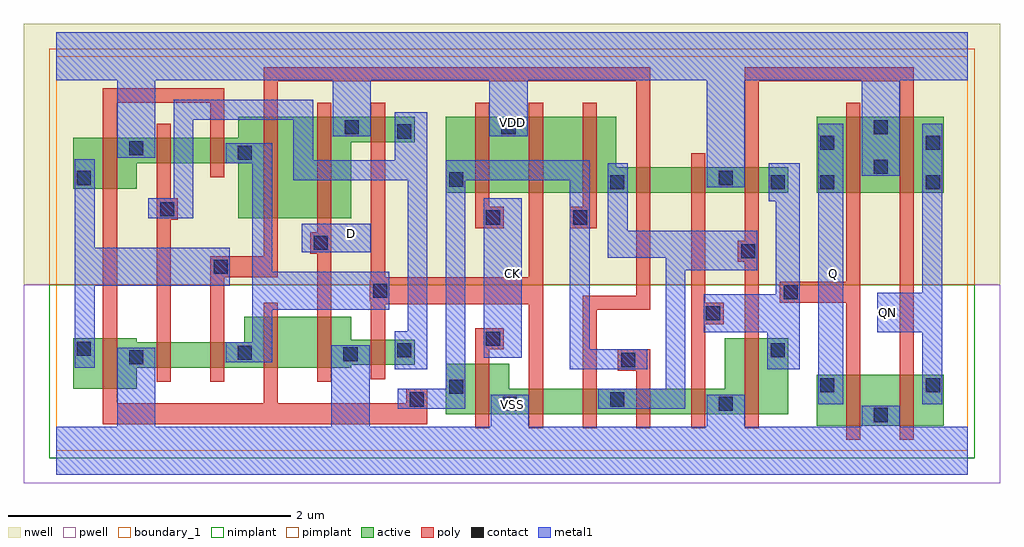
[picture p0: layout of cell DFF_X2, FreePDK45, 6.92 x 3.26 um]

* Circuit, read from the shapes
.subckt DFF_X2 CK D Q QN VDD VSS
M1 VSS n1 n2 VSUBS nfet w=0.36u l=0.1u
M2 n3 n4 VSS VSUBS nfet w=0.18u l=0.1u
M3 n5 n2 n3 VSUBS nfet w=0.18u l=0.1u
M4 n6 n1 n5 VSUBS nfet w=0.36u l=0.1u
M5 VSS D n6 VSUBS nfet w=0.36u l=0.1u
M6 n4 n5 VSS VSUBS nfet w=0.18u l=0.1u
M7 VSS CK n1 VSUBS nfet w=0.36u l=0.1u
M8 n7 n5 VSS VSUBS nfet w=0.18u l=0.1u
M9 n8 n2 n7 VSUBS nfet w=0.18u l=0.1u
M10 n9 n1 n8 VSUBS nfet w=0.18u l=0.1u
M11 VSS n10 n9 VSUBS nfet w=0.18u l=0.1u
M12 n10 n8 VSS VSUBS nfet w=0.54u l=0.1u
M13 VSS n10 Q VSUBS nfet w=0.36u l=0.1u
M14 QN n8 VSS VSUBS nfet w=0.36u l=0.1u
M15 VDD n1 n2 n11 pfet w=0.36u l=0.1u
M16 n12 n4 VDD n11 pfet w=0.18u l=0.1u
M17 n5 n1 n12 n11 pfet w=0.18u l=0.1u
M18 n13 n2 n5 n11 pfet w=0.72u l=0.1u
M19 VDD D n13 n11 pfet w=0.72u l=0.1u
M20 n4 n5 VDD n11 pfet w=0.18u l=0.1u
M21 VDD CK n1 n11 pfet w=0.54u l=0.1u
M22 n14 n5 VDD n11 pfet w=0.54u l=0.1u
M23 n8 n1 n14 n11 pfet w=0.54u l=0.1u
M24 n15 n2 n8 n11 pfet w=0.18u l=0.1u
M25 VDD n10 n15 n11 pfet w=0.18u l=0.1u
M26 n10 n8 VDD n11 pfet w=0.18u l=0.1u
M27 VDD n10 Q n11 pfet w=0.54u l=0.1u
M28 QN n8 VDD n11 pfet w=0.54u l=0.1u
.ends

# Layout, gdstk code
import gdstk
lib = gdstk.Library(unit=1e-6, precision=1e-09)
def R(c, l, rs):  # rectangles x0, y0, x1, y1
    for r in rs: c.add(gdstk.rectangle(r[:2], r[2:], *l))
def P(c, l, *ps):  # polygons
    for p in ps: c.add(gdstk.Polygon(p, *l))
active = (1, 0)
pwell = (2, 0)
nwell = (3, 0)
nimplant = (4, 0)
pimplant = (5, 0)
poly = (9, 0)
contact = (10, 0)
metal1 = (11, 0)
boundary_1 = (235, 1)

dff_x2 = lib.new_cell('DFF_X2')
R(dff_x2, active, [(5.39,0.18,6.29,0.54), (5.39,1.83,6.29,2.37)])
P(dff_x2, active, [(2.76,1.83),(5.19,1.83),(5.19,2.01),(3.97,2.01),(3.97,2.37),(2.76,2.37)],
  [(2.76,0.26),(5.19,0.26),(5.19,0.8),(4.74,0.8),(4.74,0.44),(3.21,0.44),(3.21,0.62),(2.76,0.62)],
  [(0.12,1.86),(0.57,1.86),(0.57,2.04),(1.29,2.04),(1.29,1.65),(2.09,1.65),(2.09,2.19),(2.54,2.19),(2.54,2.37),(1.29,2.37),(1.29,2.22),(0.12,2.22)],
  [(0.12,0.44),(0.57,0.44),(0.57,0.59),(2.09,0.59),(2.09,0.61),(2.54,0.61),(2.54,0.79),(2.09,0.79),(2.09,0.95),(1.33,0.95),(1.33,0.77),(0.57,0.77),(0.57,0.8),(0.12,0.8)])
R(dff_x2, pwell, [(-0.23,-0.23,6.69,1.18)])
R(dff_x2, nwell, [(-0.23,1.18,6.69,3.03)])
R(dff_x2, nimplant, [(-0.05,-0.05,6.51,1.18)])
R(dff_x2, pimplant, [(-0.05,1.18,6.51,2.85)])
P(dff_x2, poly, [(4.83,1.34),(4.88,1.34),(4.88,0.16),(4.98,0.16),(4.98,2.62),(5.98,2.62),(5.98,0.08),(6.08,0.08),(6.08,2.72),(4.88,2.72),(4.88,1.49),(4.83,1.49)],
  [(5.13,1.05),(5.6,1.05),(5.6,0.08),(5.7,0.08),(5.7,2.47),(5.6,2.47),(5.6,1.2),(5.13,1.2)],
  [(4.5,0.16),(4.6,0.16),(4.6,0.9),(4.73,0.9),(4.73,1.05),(4.6,1.05),(4.6,2.11),(4.5,2.11)],
  [(1.09,0.49),(1.19,0.49),(1.19,1.23),(1.57,1.23),(1.57,2.62),(4.11,2.62),(4.11,1.1),(3.73,1.1),(3.73,0.16),(3.83,0.16),(3.83,1),(4.21,1),(4.21,2.72),(1.47,2.72),(1.47,1.38),(1.09,1.38)],
  [(3.98,0.57),(4.11,0.57),(4.11,0.16),(4.21,0.16),(4.21,0.72),(3.98,0.72)],
  [(3.64,1.58),(3.83,1.58),(3.83,2.47),(3.73,2.47),(3.73,1.73),(3.64,1.73)],
  [(2.22,1.06),(2.23,1.06),(2.23,0.51),(2.33,0.51),(2.33,1.04),(3.35,1.04),(3.35,0.16),(3.45,0.16),(3.45,2.47),(3.35,2.47),(3.35,1.23),(2.33,1.23),(2.33,2.47),(2.23,2.47),(2.23,1.21),(2.22,1.21)],
  [(2.97,1.58),(3.17,1.58),(3.17,1.73),(3.07,1.73),(3.07,2.47),(2.97,2.47)],
  [(2.97,0.16),(3.07,0.16),(3.07,0.72),(3.17,0.72),(3.17,0.87),(2.97,0.87)],
  [(0.33,0.19),(2.63,0.19),(2.63,0.44),(2.48,0.44),(2.48,0.34),(1.57,0.34),(1.57,1.05),(1.47,1.05),(1.47,0.34),(0.43,0.34),(0.43,2.47),(1.09,2.47),(1.09,1.94),(1.19,1.94),(1.19,2.57),(0.33,2.57)],
  [(1.8,1.4),(1.85,1.4),(1.85,0.49),(1.95,0.49),(1.95,2.47),(1.85,2.47),(1.85,1.55),(1.8,1.55)],
  [(0.71,0.49),(0.81,0.49),(0.81,1.64),(0.86,1.64),(0.86,1.79),(0.81,1.79),(0.81,2.32),(0.71,2.32)])
R(dff_x2, contact, [(5.795,0.205,5.895,0.305), (3.165,0.285,3.265,0.385), (4.695,0.285,4.795,0.385), (2.505,0.315,2.605,0.415), (3.925,0.315,4.025,0.415), (2.785,0.405,2.885,0.505), (5.415,0.415,5.515,0.515), (6.165,0.415,6.265,0.515), (4.005,0.595,4.105,0.695), (0.515,0.615,0.615,0.715), (2.035,0.635,2.135,0.735), (1.285,0.645,1.385,0.745), (2.415,0.665,2.515,0.765), (5.065,0.665,5.165,0.765), (0.145,0.675,0.245,0.775), (3.045,0.745,3.145,0.845), (4.605,0.925,4.705,1.025), (5.155,1.075,5.255,1.175), (2.245,1.085,2.345,1.185), (1.115,1.255,1.215,1.355), (4.855,1.365,4.955,1.465), (1.825,1.425,1.925,1.525), (3.045,1.605,3.145,1.705), (3.665,1.605,3.765,1.705), (0.735,1.665,0.835,1.765), (3.925,1.855,4.025,1.955), (5.065,1.855,5.165,1.955), (5.415,1.855,5.515,1.955), (6.165,1.855,6.265,1.955), (2.785,1.875,2.885,1.975), (0.145,1.885,0.245,1.985), (4.695,1.885,4.795,1.985), (5.795,1.965,5.895,2.065), (1.285,2.065,1.385,2.165), (0.515,2.095,0.615,2.195), (5.415,2.135,5.515,2.235), (6.165,2.135,6.265,2.235), (2.415,2.215,2.515,2.315), (2.045,2.245,2.145,2.345), (3.155,2.245,3.255,2.345), (5.795,2.245,5.895,2.345)])
R(dff_x2, metal1, [(5.4,0.33,5.58,2.32), (5.4,0.33,5.58,2.32), (3.03,0.66,3.3,1.79), (3.03,0.66,3.3,1.79), (1.74,1.41,2.23,1.61), (1.74,1.41,2.23,1.61)])
P(dff_x2, metal1, [(0,-0.17),(6.46,-0.17),(6.46,0.17),(5.98,0.17),(5.98,0.32),(5.71,0.32),(5.71,0.17),(4.88,0.17),(4.88,0.4),(4.61,0.4),(4.61,0.17),(3.35,0.17),(3.35,0.4),(3.08,0.4),(3.08,0.17),(2.22,0.17),(2.22,0.75),(1.95,0.75),(1.95,0.17),(0.7,0.17),(0.7,0.73),(0.43,0.73),(0.43,0.17),(0,0.17)],
  [(0,2.63),(0.43,2.63),(0.43,2.08),(0.7,2.08),(0.7,2.63),(1.96,2.63),(1.96,2.23),(2.23,2.23),(2.23,2.63),(3.07,2.63),(3.07,2.23),(3.34,2.23),(3.34,2.63),(4.61,2.63),(4.61,1.87),(4.88,1.87),(4.88,2.63),(5.71,2.63),(5.71,1.95),(5.98,1.95),(5.98,2.63),(6.46,2.63),(6.46,2.97),(0,2.97)],
  [(5.82,0.84),(6.14,0.84),(6.14,0.33),(6.28,0.33),(6.28,2.32),(6.14,2.32),(6.14,1.12),(5.82,1.12)],
  [(0,2.63),(0.43,2.63),(0.43,2.08),(0.7,2.08),(0.7,2.63),(1.96,2.63),(1.96,2.23),(2.23,2.23),(2.23,2.63),(3.07,2.63),(3.07,2.23),(3.34,2.23),(3.34,2.63),(4.61,2.63),(4.61,1.87),(4.88,1.87),(4.88,2.63),(5.71,2.63),(5.71,1.95),(5.98,1.95),(5.98,2.63),(6.46,2.63),(6.46,2.97),(0,2.97)],
  [(0,-0.17),(6.46,-0.17),(6.46,0.17),(5.98,0.17),(5.98,0.32),(5.71,0.32),(5.71,0.17),(4.88,0.17),(4.88,0.4),(4.61,0.4),(4.61,0.17),(3.35,0.17),(3.35,0.4),(3.08,0.4),(3.08,0.17),(2.22,0.17),(2.22,0.75),(1.95,0.75),(1.95,0.17),(0.7,0.17),(0.7,0.73),(0.43,0.73),(0.43,0.17),(0,0.17)],
  [(5.82,0.84),(6.14,0.84),(6.14,0.33),(6.28,0.33),(6.28,2.32),(6.14,2.32),(6.14,1.12),(5.82,1.12)],
  [(5.05,1.77),(5.1,1.77),(5.1,1.11),(4.59,1.11),(4.59,0.84),(5.04,0.84),(5.04,0.58),(5.27,0.58),(5.27,2.04),(5.05,2.04)],
  [(3.91,1.37),(4.32,1.37),(4.32,0.44),(3.84,0.44),(3.84,0.3),(4.46,0.3),(4.46,1.28),(4.97,1.28),(4.97,1.56),(4.05,1.56),(4.05,2.04),(3.91,2.04)],
  [(2.42,0.3),(2.9,0.3),(2.9,1.92),(3.64,1.92),(3.64,0.58),(4.19,0.58),(4.19,0.72),(3.78,0.72),(3.78,2.06),(2.76,2.06),(2.76,0.44),(2.42,0.44)],
  [(0.65,1.65),(0.97,1.65),(0.97,2.35),(1.68,2.35),(1.68,1.92),(2.49,1.92),(2.49,0.85),(2.4,0.85),(2.4,0.58),(2.63,0.58),(2.63,2.4),(2.4,2.4),(2.4,2.06),(1.82,2.06),(1.82,2.49),(0.83,2.49),(0.83,1.79),(0.65,1.79)],
  [(1.2,2.04),(1.39,2.04),(1.39,0.77),(1.2,0.77),(1.2,0.63),(1.53,0.63),(1.53,1),(2.36,1),(2.36,1.27),(1.53,1.27),(1.53,2.18),(1.2,2.18)],
  [(0.13,0.59),(0.27,0.59),(0.27,1.17),(1.23,1.17),(1.23,1.44),(0.27,1.44),(0.27,2.07),(0.13,2.07)])
R(dff_x2, boundary_1, [(0,0,6.46,2.8)])
dff_x2.add(gdstk.Label('VSS', (3.23,0.33), layer=11, texttype=0))
dff_x2.add(gdstk.Label('VDD', (3.23,2.33), layer=11, texttype=0))
dff_x2.add(gdstk.Label('QN', (5.89,0.98), layer=11, texttype=0))
dff_x2.add(gdstk.Label('Q', (5.51,1.26), layer=11, texttype=0))
dff_x2.add(gdstk.Label('D', (2.09,1.54), layer=11, texttype=0))
dff_x2.add(gdstk.Label('CK', (3.23,1.26), layer=11, texttype=0))

lib.write_gds('DFF_X2.gds')
